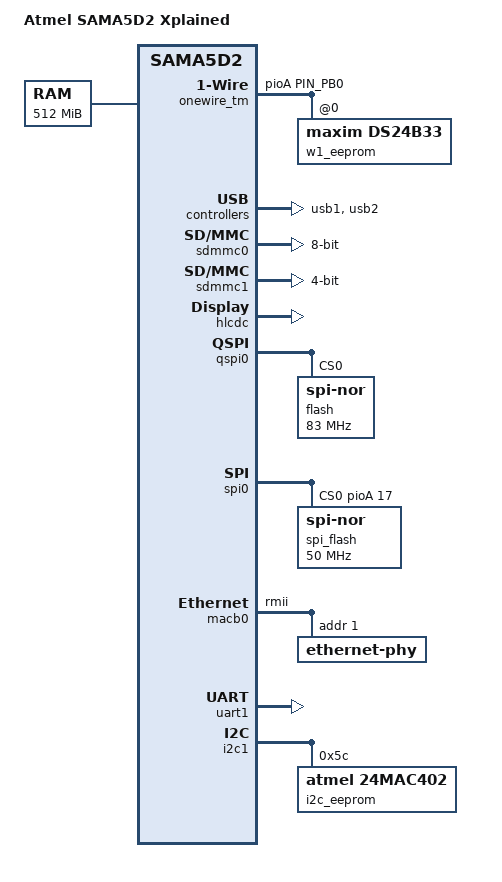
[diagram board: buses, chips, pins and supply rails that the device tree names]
/dts-v1/;
#include <dt-bindings/gpio/gpio.h>
#include "sama5d2.dtsi"
#include "sama5d2-pinfunc.h"

/ {
	model = "Atmel SAMA5D2 Xplained";
	compatible = "atmel,sama5d2-xplained", "atmel,sama5d2", "atmel,sama5";

	chosen {
		bootph-all;
		stdout-path = &uart1;
	};

	memory {
		reg = <0x20000000 0x20000000>;
	};

	onewire_tm: onewire {
		gpios = <&pioA PIN_PB0 GPIO_ACTIVE_HIGH>;
		pinctrl-names = "default";
		pinctrl-0 = <&pinctrl_onewire_tm_default>;
		status = "okay";

		w1_eeprom: w1_eeprom@0 {
			compatible = "maxim,ds24b33";
			status = "okay";
		};
	};

	ahb {
		usb1: ohci@400000 {
			num-ports = <3>;
			atmel,vbus-gpio = <&pioA 42 0>;
			pinctrl-names = "default";
			pinctrl-0 = <&pinctrl_usb_default>;
			status = "okay";
		};

		usb2: ehci@500000 {
			status = "okay";
		};

		sdmmc0: sdio-host@a0000000 {
			bus-width = <8>;
			pinctrl-names = "default";
			pinctrl-0 = <&pinctrl_sdmmc0_default>;
			status = "okay";
			bootph-all;
		};

		sdmmc1: sdio-host@b0000000 {
			bus-width = <4>;
			pinctrl-names = "default";
			pinctrl-0 = <&pinctrl_sdmmc1_default>;
			status = "okay"; /* conflict with qspi0 */
			bootph-all;
		};

		apb {
			hlcdc: hlcdc@f0000000 {
				atmel,vl-bpix = <4>;
				atmel,guard-time = <1>;
				pinctrl-names = "default";
				pinctrl-0 = <&pinctrl_lcd_base &pinctrl_lcd_pwm &pinctrl_lcd_rgb666>;
				status = "okay";
				bootph-all;

				display-timings {
					bootph-all;
					480x272 {
						clock-frequency = <9000000>;
						hactive = <480>;
						vactive = <272>;
						hsync-len = <41>;
						hfront-porch = <2>;
						hback-porch = <2>;
						vfront-porch = <2>;
						vback-porch = <2>;
						vsync-len = <11>;
						bootph-all;
					};
				};
			};

			qspi0: spi@f0020000 {
				pinctrl-names = "default";
				pinctrl-0 = <&pinctrl_qspi0_sck_cs_default &pinctrl_qspi0_dat_default>;
				status = "okay";
				bootph-all;

				flash@0 {
					compatible = "jedec,spi-nor";
					reg = <0>;
					spi-max-frequency = <83000000>;
					spi-rx-bus-width = <4>;
					spi-tx-bus-width = <4>;
					bootph-all;
				};
			};

			spi0: spi@f8000000 {
				cs-gpios = <&pioA 17 0>, <0>, <0>, <0>;
				pinctrl-names = "default";
				pinctrl-0 = <&pinctrl_spi0_default>;
				status = "okay";
				bootph-all;

				spi_flash@0 {
					compatible = "jedec,spi-nor";
					reg = <0>;
					spi-max-frequency = <50000000>;
					bootph-all;
				};
			};

			macb0: ethernet@f8008000 {
				pinctrl-names = "default";
				pinctrl-0 = <&pinctrl_macb0_rmii &pinctrl_macb0_phy_irq>;
				phy-mode = "rmii";
				status = "okay";

				ethernet-phy@1 {
					reg = <0x1>;
				};
			};

			uart1: serial@f8020000 {
				pinctrl-names = "default";
				pinctrl-0 = <&pinctrl_uart1_default>;
				status = "okay";
				bootph-all;
			};

			i2c1: i2c@fc028000 {
				pinctrl-names = "default";
				pinctrl-0 = <&pinctrl_i2c1_default>;
				status = "okay";

				i2c_eeprom: i2c_eeprom@5c {
					compatible = "atmel,24mac402";
					reg = <0x5c>;
				};
			};

			pioA: pinctrl@fc038000 {
				pinctrl_i2c1_default: i2c1_default {
					pinmux = <PIN_PD4__TWD1>,
						 <PIN_PD5__TWCK1>;
					bias-disable;
				};

				pinctrl_lcd_base: pinctrl_lcd_base {
					pinmux = <PIN_PC30__LCDVSYNC>,
						<PIN_PC31__LCDHSYNC>,
						<PIN_PD1__LCDDEN>,
						<PIN_PD0__LCDPCK>;
					bias-disable;
				};

				pinctrl_lcd_pwm: pinctrl_lcd_pwm {
					pinmux = <PIN_PC28__LCDPWM>;
					bias-disable;
				};

				pinctrl_lcd_rgb666: pinctrl_lcd_rgb666 {
					pinmux = <PIN_PC10__LCDDAT2>,
						<PIN_PC11__LCDDAT3>,
						<PIN_PC12__LCDDAT4>,
						<PIN_PC13__LCDDAT5>,
						<PIN_PC14__LCDDAT6>,
						<PIN_PC15__LCDDAT7>,
						<PIN_PC16__LCDDAT10>,
						<PIN_PC17__LCDDAT11>,
						<PIN_PC18__LCDDAT12>,
						<PIN_PC19__LCDDAT13>,
						<PIN_PC20__LCDDAT14>,
						<PIN_PC21__LCDDAT15>,
						<PIN_PC22__LCDDAT18>,
						<PIN_PC23__LCDDAT19>,
						<PIN_PC24__LCDDAT20>,
						<PIN_PC25__LCDDAT21>,
						<PIN_PC26__LCDDAT22>,
						<PIN_PC27__LCDDAT23>;
					bias-disable;
				};

				pinctrl_macb0_phy_irq: macb0_phy_irq {
					pinmux = <PIN_PC9__GPIO>;
					bias-disable;
				};

				pinctrl_macb0_rmii: macb0_rmii {
					pinmux = <PIN_PB14__GTXCK>,
						 <PIN_PB15__GTXEN>,
						 <PIN_PB16__GRXDV>,
						 <PIN_PB17__GRXER>,
						 <PIN_PB18__GRX0>,
						 <PIN_PB19__GRX1>,
						 <PIN_PB20__GTX0>,
						 <PIN_PB21__GTX1>,
						 <PIN_PB22__GMDC>,
						 <PIN_PB23__GMDIO>;
					bias-disable;
				};

				pinctrl_qspi0_sck_cs_default: qspi0_sck_cs_default {
					pinmux = <PIN_PA22__QSPI0_SCK>,
						 <PIN_PA23__QSPI0_CS>;
					bias-disable;
					bootph-all;
				};

				pinctrl_qspi0_dat_default: qspi0_dat_default {
					pinmux = <PIN_PA24__QSPI0_IO0>,
						 <PIN_PA25__QSPI0_IO1>,
						 <PIN_PA26__QSPI0_IO2>,
						 <PIN_PA27__QSPI0_IO3>;
					bias-pull-up;
					bootph-all;
				};

				pinctrl_sdmmc0_default: sdmmc0_default {
					cmd_dat {
						pinmux = <PIN_PA1__SDMMC0_CMD>,
							 <PIN_PA2__SDMMC0_DAT0>,
							 <PIN_PA3__SDMMC0_DAT1>,
							 <PIN_PA4__SDMMC0_DAT2>,
							 <PIN_PA5__SDMMC0_DAT3>,
							 <PIN_PA6__SDMMC0_DAT4>,
							 <PIN_PA7__SDMMC0_DAT5>,
							 <PIN_PA8__SDMMC0_DAT6>,
							 <PIN_PA9__SDMMC0_DAT7>;
						bias-pull-up;
						bootph-all;
					};

					ck_cd_default {
						pinmux = <PIN_PA0__SDMMC0_CK>,
							 <PIN_PA10__SDMMC0_RSTN>,
							 <PIN_PA11__SDMMC0_VDDSEL>,
							 <PIN_PA13__SDMMC0_CD>;
						bias-disable;
						bootph-all;
					};
				};

				pinctrl_sdmmc1_default: sdmmc1_default {
					cmd_dat {
						pinmux = <PIN_PA28__SDMMC1_CMD>,
							 <PIN_PA18__SDMMC1_DAT0>,
							 <PIN_PA19__SDMMC1_DAT1>,
							 <PIN_PA20__SDMMC1_DAT2>,
							 <PIN_PA21__SDMMC1_DAT3>;
						bias-pull-up;
						bootph-all;
					};

					ck_cd {
						pinmux = <PIN_PA22__SDMMC1_CK>,
							 <PIN_PA30__SDMMC1_CD>;
						bias-disable;
						bootph-all;
					};
				};

				pinctrl_spi0_default: spi0_default {
					pinmux = <PIN_PA14__SPI0_SPCK>,
						 <PIN_PA15__SPI0_MOSI>,
						 <PIN_PA16__SPI0_MISO>;
					bias-disable;
					bootph-all;
				};

				pinctrl_uart1_default: uart1_default {
					pinmux = <PIN_PD2__URXD1>,
						 <PIN_PD3__UTXD1>;
					bias-disable;
					bootph-all;
				};

				pinctrl_usb_default: usb_default {
					pinmux = <PIN_PB10__GPIO>;
					bias-disable;
				};

				pinctrl_usba_vbus: usba_vbus {
					pinmux = <PIN_PA31__GPIO>;
					bias-disable;
				};

				pinctrl_onewire_tm_default: onewire_tm_default {
					pinmux = <PIN_PB0__GPIO>;
					bias-pull-up;
				};
			};
		};
	};
};
